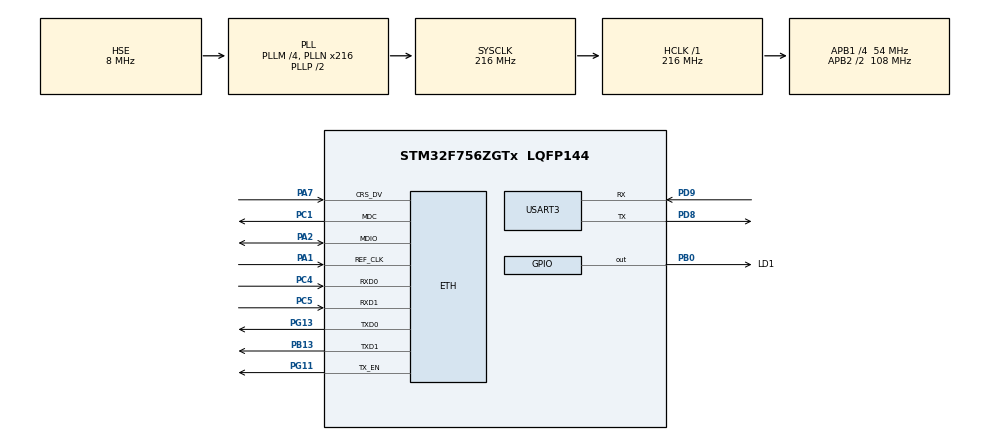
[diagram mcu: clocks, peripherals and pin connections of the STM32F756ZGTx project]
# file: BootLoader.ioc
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CORTEX_M7.default_mode_Activation=1
ETH.MediaInterface=HAL_ETH_RMII_MODE
LWIP.BSP.number=1
LWIP.DHCP_DEBUG=LWIP_DBG_ON
LWIP.ETHARP_DEBUG=LWIP_DBG_OFF
LWIP.GATEWAY_ADDRESS=010.000.001.101
LWIP.ICMP_DEBUG=LWIP_DBG_ON
LWIP.IP_ADDRESS=010.000.001.100
LWIP.IP_DEBUG=LWIP_DBG_ON
LWIP.LWIP_DHCP=1
LWIP.LWIP_NETIF_HOSTNAME=1
LWIP.LWIP_NETIF_HOSTNAME_NAME=STM32-Device
LWIP.LWIP_TCP_SACK_OUT=1
LWIP.LWIP_UDPLITE=1
LWIP.NETIF_DEBUG=LWIP_DBG_ON
LWIP.NETMASK_ADDRESS=255.255.255.000
LWIP.PBUF_DEBUG=LWIP_DBG_OFF
LWIP.TCP_DEBUG=LWIP_DBG_ON
LWIP.UDP_DEBUG=LWIP_DBG_ON
LWIP.Version=v2.1.2_Cube
LWIP0.BSP.STBoard=false
LWIP0.BSP.api=BSP_COMPONENT_DRIVER
LWIP0.BSP.component=LAN8742
LWIP0.BSP.instance=LAN8742
LWIP0.BSP.name=Driver_PHY
LWIP0.BSP.semaphore=S_LAN8742
LWIP0.BSP.solution=LAN8742
Mcu.Family=STM32F7
Mcu.Name=STM32F756ZGTx
Mcu.Package=LQFP144
NVIC.ETH_IRQn=true\:0\:0\:false\:false\:true\:true\:true\:true
NVIC.ETH_WKUP_IRQn=true\:0\:0\:false\:false\:true\:true\:true\:true
NVIC.PriorityGroup=NVIC_PRIORITYGROUP_4
PA1.Mode=RMII
PA1.Signal=ETH_REF_CLK
PA13.Mode=Serial_Wire
PA13.Signal=SYS_JTMS-SWDIO
PA14.Mode=Serial_Wire
PA14.Signal=SYS_JTCK-SWCLK
PA2.Mode=RMII
PA2.Signal=ETH_MDIO
PA7.Mode=RMII
PA7.Signal=ETH_CRS_DV
PB0.GPIO_Label=LD1
PB0.Signal=GPIO_Output
PB13.Mode=RMII
PB13.Signal=ETH_TXD1
PC1.Mode=RMII
PC1.Signal=ETH_MDC
PC14/OSC32_IN.Mode=LSE-External-Oscillator
PC14/OSC32_IN.Signal=RCC_OSC32_IN
PC15/OSC32_OUT.Mode=LSE-External-Oscillator
PC15/OSC32_OUT.Signal=RCC_OSC32_OUT
PC4.Mode=RMII
PC4.Signal=ETH_RXD0
PC5.Mode=RMII
PC5.Signal=ETH_RXD1
PD8.Mode=Asynchronous
PD8.Signal=USART3_TX
PD9.Mode=Asynchronous
PD9.Signal=USART3_RX
PG11.Mode=RMII
PG11.Signal=ETH_TX_EN
PG13.Mode=RMII
PG13.Signal=ETH_TXD0
PH0/OSC_IN.Mode=HSE-External-Clock-Source
PH0/OSC_IN.Signal=RCC_OSC_IN
PH1/OSC_OUT.Mode=HSE-External-Clock-Source
PH1/OSC_OUT.Signal=RCC_OSC_OUT
ProjectManager.HeapSize=0x200
ProjectManager.StackSize=0x400
ProjectManager.TargetToolchain=STM32CubeIDE
RCC.AHBFreq_Value=216000000
RCC.APB1CLKDivider=RCC_HCLK_DIV4
RCC.APB1Freq_Value=54000000
RCC.APB1TimFreq_Value=108000000
RCC.APB2CLKDivider=RCC_HCLK_DIV2
RCC.APB2Freq_Value=108000000
RCC.APB2TimFreq_Value=216000000
RCC.CortexFreq_Value=216000000
RCC.HCLKFreq_Value=216000000
RCC.HSE_VALUE=8000000
RCC.HSI_VALUE=16000000
RCC.PLLM=4
RCC.PLLN=216
RCC.PLLSourceVirtual=RCC_PLLSOURCE_HSE
RCC.SYSCLKFreq_VALUE=216000000
RCC.SYSCLKSource=RCC_SYSCLKSOURCE_PLLCLK
RCC.USBFreq_Value=216000000
RCC.VCOOutputFreq_Value=432000000
USART3.VirtualMode-Asynchronous=VM_ASYNC
VP_CRC_VS_CRC.Mode=CRC_Activate
VP_LWIP_VS_Enabled.Mode=Enabled
board=custom

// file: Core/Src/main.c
/* USER CODE BEGIN Header */
/**
  ******************************************************************************
  * @file           : main.c
  * @brief          : Main program body
  ******************************************************************************
  * @attention
  *
  * Copyright (c) 2026 STMicroelectronics.
  * All rights reserved.
  *
  * This software is licensed under terms that can be found in the LICENSE file
  * in the root directory of this software component.
  * If no LICENSE file comes with this software, it is provided AS-IS.
  *
  ******************************************************************************
  */
/* USER CODE END Header */
#include "main.h"
#include "crc.h"
#include "lwip.h"
#include "usart.h"
#include "gpio.h"

/* USER CODE BEGIN Includes */
#include "CommonData.h"
#include "SystemLib.h"
#include "Network.h"
#include "Flash.h"
#include "netif.h"

/* USER CODE END Includes */

/* USER CODE BEGIN PTD */

typedef void(*pFunc)(void);

/* USER CODE END PTD */

/* USER CODE BEGIN PD */
#define MAGIC_NUMBER  0x55AA55AA5A5A5A5A

#define MAGIC_NUMBER_ADDR    (0x2004FFF0)
#define BOOTLOADER_MAGIC_KEY 0xDEADBEEF

/* USER CODE END PD */

/* USER CODE BEGIN PV */
__attribute__((section(".noinit"))) volatile uint64_t MagicNumberVar;
/* USER CODE END PV */

void SystemClock_Config(void);
static void MPU_Config(void);
/* USER CODE BEGIN PFP */
void StartApplication();
/* USER CODE END PFP */

int main(void)
{

  /* USER CODE BEGIN 1 */

  ResetReason_e ResetReason;
  ResetReason = CheckResetReason();
  if( ((ResetReason != E_SOFTWARE_RESET) && (!GetPBState())) || ((ResetReason == E_SOFTWARE_RESET) && (MagicNumberVar == MAGIC_NUMBER)))
   {
	MagicNumberVar = 0;
	if(ApplicationExists())
     StartApplication();
   }

  /* USER CODE END 1 */

  /* MPU Configuration--------------------------------------------------------*/
  MPU_Config();

  /* MCU Configuration--------------------------------------------------------*/

  /* Reset of all peripherals, Initializes the Flash interface and the Systick. */
  HAL_Init();

  /* Configure the system clock */
  SystemClock_Config();

  /* Initialize all configured peripherals */
  MX_GPIO_Init();
  MX_USART3_UART_Init();
  MX_LWIP_Init();
  MX_CRC_Init();
  /* USER CODE BEGIN 2 */

  InitNetwork();
  /* USER CODE END 2 */

  /* Infinite loop */
  /* USER CODE BEGIN WHILE */
  while (1)
  {
	MX_LWIP_Process();
    /* USER CODE END WHILE */
    /* USER CODE BEGIN 3 */
    if(TheBurnIsFinished())
     {
      printf("Finished downloading. Starting main application...\n\r");

      /*
       *  Attention !!!!
       * The main application can be run only before the "HAL_Init()" that means before the starting the bootloader mode at all.
       * After the running the procedure "HAL_Init()" the application running is impossible regardless anything even after "HAL_DeInit()".
       * Due to this reason the main application running is done by making setting the magic number and than making the soft reset.
       * The reset reason is not enough to decide if to run the main program or bootloader itself because the soft reset is used for
       * making OTA-Update in case the main application received command to reboot the device for making OTA-Update.
       * So by soft update is is not possible to know if the reset was done for for making the OTA-Update or for running the main
       * program after OTA-Update itself.
       */
      MagicNumberVar = MAGIC_NUMBER;
      NVIC_SystemReset();  /* Soft Reset */
     }

  }
  /* USER CODE END 3 */
}

void SystemClock_Config(void)
{
  RCC_OscInitTypeDef RCC_OscInitStruct = {0};
  RCC_ClkInitTypeDef RCC_ClkInitStruct = {0};

  /** Configure LSE Drive Capability
  */
  HAL_PWR_EnableBkUpAccess();

  /** Configure the main internal regulator output voltage
  */
  __HAL_RCC_PWR_CLK_ENABLE();
  __HAL_PWR_VOLTAGESCALING_CONFIG(PWR_REGULATOR_VOLTAGE_SCALE1);

  /** Initializes the RCC Oscillators according to the specified parameters
  * in the RCC_OscInitTypeDef structure.
  */
  RCC_OscInitStruct.OscillatorType = RCC_OSCILLATORTYPE_HSE;
  RCC_OscInitStruct.HSEState = RCC_HSE_BYPASS;
  RCC_OscInitStruct.PLL.PLLState = RCC_PLL_ON;
  RCC_OscInitStruct.PLL.PLLSource = RCC_PLLSOURCE_HSE;
  RCC_OscInitStruct.PLL.PLLM = 4;
  RCC_OscInitStruct.PLL.PLLN = 216;
  RCC_OscInitStruct.PLL.PLLP = RCC_PLLP_DIV2;
  RCC_OscInitStruct.PLL.PLLQ = 2;
  if (HAL_RCC_OscConfig(&RCC_OscInitStruct) != HAL_OK)
  {
    Error_Handler();
  }

  /** Activate the Over-Drive mode
  */
  if (HAL_PWREx_EnableOverDrive() != HAL_OK)
  {
    Error_Handler();
  }

  /** Initializes the CPU, AHB and APB buses clocks
  */
  RCC_ClkInitStruct.ClockType = RCC_CLOCKTYPE_HCLK|RCC_CLOCKTYPE_SYSCLK
                              |RCC_CLOCKTYPE_PCLK1|RCC_CLOCKTYPE_PCLK2;
  RCC_ClkInitStruct.SYSCLKSource = RCC_SYSCLKSOURCE_PLLCLK;
  RCC_ClkInitStruct.AHBCLKDivider = RCC_SYSCLK_DIV1;
  RCC_ClkInitStruct.APB1CLKDivider = RCC_HCLK_DIV4;
  RCC_ClkInitStruct.APB2CLKDivider = RCC_HCLK_DIV2;

  if (HAL_RCC_ClockConfig(&RCC_ClkInitStruct, FLASH_LATENCY_7) != HAL_OK)
  {
    Error_Handler();
  }
}

/* USER CODE BEGIN 4 */

void StartApplication()
 {
  uint32_t JumpAddress;
  pFunc Jump_To_Application;
  JumpAddress = *(uint32_t*)(START_PROG_ADDRESS +4);
  Jump_To_Application = (pFunc) JumpAddress;
  Jump_To_Application();
 }

/* USER CODE END 4 */

 /* MPU Configuration */

void MPU_Config(void)
{
  MPU_Region_InitTypeDef MPU_InitStruct = {0};

  /* Disables the MPU */
  HAL_MPU_Disable();

  /** Initializes and configures the Region and the memory to be protected
  */
  MPU_InitStruct.Enable = MPU_REGION_ENABLE;
  MPU_InitStruct.Number = MPU_REGION_NUMBER0;
  MPU_InitStruct.BaseAddress = 0x0;
  MPU_InitStruct.Size = MPU_REGION_SIZE_4GB;
  MPU_InitStruct.SubRegionDisable = 0x87;
  MPU_InitStruct.TypeExtField = MPU_TEX_LEVEL0;
  MPU_InitStruct.AccessPermission = MPU_REGION_NO_ACCESS;
  MPU_InitStruct.DisableExec = MPU_INSTRUCTION_ACCESS_DISABLE;
  MPU_InitStruct.IsShareable = MPU_ACCESS_SHAREABLE;
  MPU_InitStruct.IsCacheable = MPU_ACCESS_NOT_CACHEABLE;
  MPU_InitStruct.IsBufferable = MPU_ACCESS_NOT_BUFFERABLE;

  HAL_MPU_ConfigRegion(&MPU_InitStruct);
  /* Enables the MPU */
  HAL_MPU_Enable(MPU_PRIVILEGED_DEFAULT);

}

void Error_Handler(void)
{
  __disable_irq();
  while (1)
  {
  }
}
